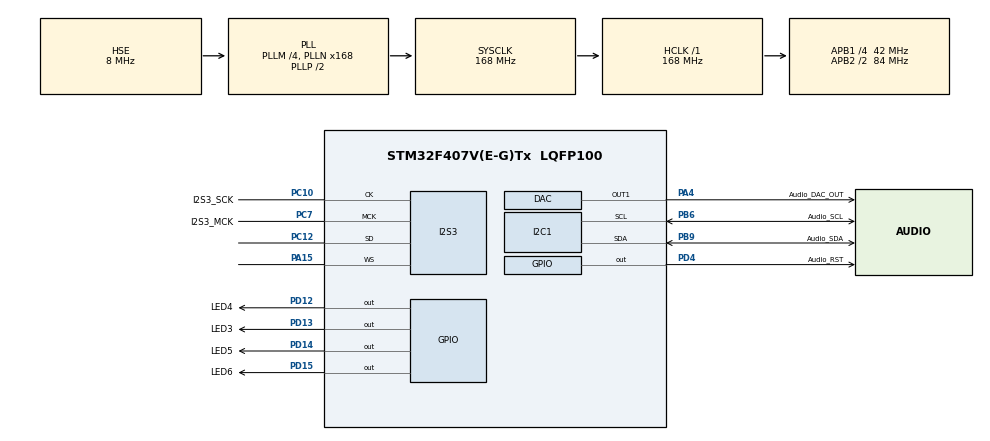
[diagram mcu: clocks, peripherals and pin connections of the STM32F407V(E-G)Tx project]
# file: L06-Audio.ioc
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Dma.Request0=SPI3_TX
Dma.SPI3_TX.0.Direction=DMA_MEMORY_TO_PERIPH
Dma.SPI3_TX.0.FIFOMode=DMA_FIFOMODE_ENABLE
Dma.SPI3_TX.0.FIFOThreshold=DMA_FIFO_THRESHOLD_FULL
Dma.SPI3_TX.0.Instance=DMA1_Stream5
Dma.SPI3_TX.0.MemBurst=DMA_MBURST_SINGLE
Dma.SPI3_TX.0.MemDataAlignment=DMA_MDATAALIGN_HALFWORD
Dma.SPI3_TX.0.MemInc=DMA_MINC_ENABLE
Dma.SPI3_TX.0.Mode=DMA_CIRCULAR
Dma.SPI3_TX.0.PeriphBurst=DMA_PBURST_SINGLE
Dma.SPI3_TX.0.PeriphDataAlignment=DMA_PDATAALIGN_HALFWORD
Dma.SPI3_TX.0.PeriphInc=DMA_PINC_DISABLE
Dma.SPI3_TX.0.Priority=DMA_PRIORITY_LOW
I2S3.AudioFreq=I2S_AUDIOFREQ_48K
I2S3.ErrorAudioFreq=1.72 %
I2S3.FullDuplexMode=I2S_FULLDUPLEXMODE_DISABLE
I2S3.Instance=SPI$Index
I2S3.RealAudioFreq=48.828 KHz
I2S3.VirtualMode=I2S_MODE_MASTER
Mcu.Family=STM32F4
Mcu.Name=STM32F407V(E-G)Tx
Mcu.Package=LQFP100
NVIC.DMA1_Stream5_IRQn=true\:0\:0\:false\:false\:true\:false\:true\:true
NVIC.PriorityGroup=NVIC_PRIORITYGROUP_0
NVIC.TIM2_IRQn=true\:0\:0\:false\:false\:true\:true\:true\:true
PA15.Mode=Half_Duplex_Master
PA15.Signal=I2S3_WS
PA4.GPIO_Label=Audio_DAC_OUT
PA4.Signal=COMP_DAC1_group
PB6.GPIO_Label=Audio_SCL
PB6.Mode=I2C
PB6.Signal=I2C1_SCL
PB9.GPIO_Label=Audio_SDA
PB9.Mode=I2C
PB9.Signal=I2C1_SDA
PC10.GPIO_Label=I2S3_SCK
PC10.Mode=Half_Duplex_Master
PC10.Signal=I2S3_CK
PC12.Mode=Half_Duplex_Master
PC12.Signal=I2S3_SD
PC7.GPIO_Label=I2S3_MCK
PC7.Mode=Master_Clock_Activated
PC7.Signal=I2S3_MCK
PD12.GPIO_Label=LED4
PD12.Signal=GPIO_Output
PD13.GPIO_Label=LED3
PD13.Signal=GPIO_Output
PD14.GPIO_Label=LED5
PD14.Signal=GPIO_Output
PD15.GPIO_Label=LED6
PD15.Signal=GPIO_Output
PD4.GPIO_Label=Audio_RST
PD4.Signal=GPIO_Output
PH0-OSC_IN.Mode=HSE-External-Oscillator
PH0-OSC_IN.Signal=RCC_OSC_IN
PH1-OSC_OUT.Mode=HSE-External-Oscillator
PH1-OSC_OUT.Signal=RCC_OSC_OUT
ProjectManager.HeapSize=0x200
ProjectManager.StackSize=0x400
ProjectManager.TargetToolchain=STM32CubeIDE
RCC.48MHZClocksFreq_Value=48000000
RCC.AHBFreq_Value=168000000
RCC.APB1CLKDivider=RCC_HCLK_DIV4
RCC.APB1Freq_Value=42000000
RCC.APB1TimFreq_Value=84000000
RCC.APB2CLKDivider=RCC_HCLK_DIV2
RCC.APB2Freq_Value=84000000
RCC.APB2TimFreq_Value=168000000
RCC.CortexFreq_Value=168000000
RCC.HCLKFreq_Value=168000000
RCC.HSE_VALUE=8000000
RCC.HSI_VALUE=16000000
RCC.LSE_VALUE=32768
RCC.PLLI2SN=50
RCC.PLLM=4
RCC.PLLN=168
RCC.PLLQ=7
RCC.PLLSourceVirtual=RCC_PLLSOURCE_HSE
RCC.SYSCLKFreq_VALUE=168000000
RCC.SYSCLKSource=RCC_SYSCLKSOURCE_PLLCLK
RCC.VCOOutputFreq_Value=336000000
SH.COMP_DAC1_group.0=DAC_OUT1,DAC_OUT1
TIM2.Period=20-1
TIM2.Prescaler=84-1
TIM2.TIM_MasterOutputTrigger=TIM_TRGO_UPDATE
VP_TIM2_VS_ClockSourceINT.Mode=Internal
board=STM32F407G-DISC1

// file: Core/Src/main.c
/* USER CODE BEGIN Header */
/**
  ******************************************************************************
  * @file           : main.c
  * @brief          : Main program body
  ******************************************************************************
  * @attention
  *
  * Copyright (c) 2025 STMicroelectronics.
  * All rights reserved.
  *
  * This software is licensed under terms that can be found in the LICENSE file
  * in the root directory of this software component.
  * If no LICENSE file comes with this software, it is provided AS-IS.
  *
  ******************************************************************************
  */
/* USER CODE END Header */
#include "main.h"
#include "dac.h"
#include "dma.h"
#include "i2c.h"
#include "i2s.h"
#include "tim.h"
#include "gpio.h"

/* USER CODE BEGIN Includes */
#include "MY_CS43L22.h"
#include <math.h>
/* USER CODE END Includes */

/* USER CODE BEGIN PD */
#define PI 3.14159f
#define F_SAMPLE 50000.0f
/* USER CODE END PD */

void SystemClock_Config(void);

/* USER CODE BEGIN 0 */
typedef struct {
    float freq;
    uint32_t duration_ms;
} Note;

const Note melody[7] = {
    {262.0f, 400},
    {294.0f, 400},
    {0.0f,   100},
    {330.0f, 400},
    {262.0f, 400},
	{0.0f,   50},
	{303.0f, 400},
};

#define F_SAMPLE 50000.0f
#define PI 3.14159f
float mySinVal; //wartość generowanego sinusa
float sample_dt; //odległość pomiędzy próbkami
uint16_t sample_N; //ilość próbek
uint16_t i_t; //numer próbki
uint32_t myDacVal; //sinus dla DAC
uint16_t I2S_dummy[4]; //obsługa transmisji I2S
float F_OUT = 80.0f;
/* USER CODE END 0 */

int main(void)
{

  /* USER CODE BEGIN 1 */
	sample_dt=F_OUT/F_SAMPLE; //odległość pomiędzy próbkami
	sample_N=F_SAMPLE/F_OUT; //ilość próbek do wygenerowania dla 1s
  /* USER CODE END 1 */

  /* MCU Configuration--------------------------------------------------------*/

  /* Reset of all peripherals, Initializes the Flash interface and the Systick. */
  HAL_Init();

  /* Configure the system clock */
  SystemClock_Config();

  /* Initialize all configured peripherals */
  MX_GPIO_Init();
  MX_DMA_Init();
  MX_DAC_Init();
  MX_I2C1_Init();
  MX_I2S3_Init();
  MX_TIM2_Init();
  /* USER CODE BEGIN 2 */
  CS43_Init(hi2c1, MODE_ANALOG);
  CS43_SetVolume(60);
  CS43_Enable_RightLeft(CS43_RIGHT_LEFT);
  CS43_Start();
  HAL_DAC_Start(&hdac,DAC_CHANNEL_1);
  HAL_TIM_Base_Start_IT(&htim2);
  /* USER CODE END 2 */

  /* Infinite loop */
  while (1)
  {

    /* USER CODE BEGIN 3 */
	  if( HAL_I2S_Transmit (&hi2s3, I2S_dummy , 0x10, 10 ) == HAL_OK)
	  {
	  HAL_GPIO_WritePin(GPIOD, LED4_Pin, 1);
	  };
  }
  /* USER CODE END 3 */
}

void SystemClock_Config(void)
{
  RCC_OscInitTypeDef RCC_OscInitStruct = {0};
  RCC_ClkInitTypeDef RCC_ClkInitStruct = {0};

  /** Configure the main internal regulator output voltage
  */
  __HAL_RCC_PWR_CLK_ENABLE();
  __HAL_PWR_VOLTAGESCALING_CONFIG(PWR_REGULATOR_VOLTAGE_SCALE1);

  /** Initializes the RCC Oscillators according to the specified parameters
  * in the RCC_OscInitTypeDef structure.
  */
  RCC_OscInitStruct.OscillatorType = RCC_OSCILLATORTYPE_HSE;
  RCC_OscInitStruct.HSEState = RCC_HSE_ON;
  RCC_OscInitStruct.PLL.PLLState = RCC_PLL_ON;
  RCC_OscInitStruct.PLL.PLLSource = RCC_PLLSOURCE_HSE;
  RCC_OscInitStruct.PLL.PLLM = 4;
  RCC_OscInitStruct.PLL.PLLN = 168;
  RCC_OscInitStruct.PLL.PLLP = RCC_PLLP_DIV2;
  RCC_OscInitStruct.PLL.PLLQ = 7;
  if (HAL_RCC_OscConfig(&RCC_OscInitStruct) != HAL_OK)
  {
    Error_Handler();
  }

  /** Initializes the CPU, AHB and APB buses clocks
  */
  RCC_ClkInitStruct.ClockType = RCC_CLOCKTYPE_HCLK|RCC_CLOCKTYPE_SYSCLK
                              |RCC_CLOCKTYPE_PCLK1|RCC_CLOCKTYPE_PCLK2;
  RCC_ClkInitStruct.SYSCLKSource = RCC_SYSCLKSOURCE_PLLCLK;
  RCC_ClkInitStruct.AHBCLKDivider = RCC_SYSCLK_DIV1;
  RCC_ClkInitStruct.APB1CLKDivider = RCC_HCLK_DIV4;
  RCC_ClkInitStruct.APB2CLKDivider = RCC_HCLK_DIV2;

  if (HAL_RCC_ClockConfig(&RCC_ClkInitStruct, FLASH_LATENCY_5) != HAL_OK)
  {
    Error_Handler();
  }
}

/* USER CODE BEGIN 4 */
void HAL_TIM_PeriodElapsedCallback(TIM_HandleTypeDef *htim)
{
	/* USER CODE BEGIN Callback 0 */
	/* USER CODE END Callback 0 */
	if (htim->Instance == TIM14) {
	HAL_IncTick();
	}
	/* USER CODE BEGIN Callback 1 */
  // task 1
  /*
  static uint32_t sweep_counter = 0; // formerly chirp_counter
  if(htim->Instance == TIM2) {
      sweep_counter++;
      if (sweep_counter >= 5000) {
          F_OUT += 100.0f;
          if(F_OUT > 15000.0f) {
              F_OUT = 80.0f;
          }
          sample_dt = F_OUT / F_SAMPLE;
          sample_N = F_SAMPLE / F_OUT;
          sweep_counter = 0;
      }
	mySinVal = sinf(i_t * 2 * PI * sample_dt);
	myDacVal = (mySinVal + 1) * 127;
	//konwersja do całkowitych dodatnich
	HAL_DAC_SetValue(&hdac,DAC_CHANNEL_1,DAC_ALIGN_8B_R,myDacVal); //wysłaniedo konwertera danych 8 bitowych na kanale 1
	i_t++;
	if(i_t>=sample_N) {
      i_t = 0;
    }
	}
  */

  // task 2
	if(htim->Instance == TIM2) {
	    static uint32_t note_elapsed = 0;
	    static uint8_t curr_note = 0;
	    static uint32_t note_duration = 0;

	    if(note_elapsed == 0) {
	        F_OUT = melody[curr_note].freq;
	        note_duration = (uint32_t)(F_SAMPLE * (melody[curr_note].duration_ms / 1000.0f));
	        if(F_OUT > 1.0f) {
	            sample_dt = F_OUT / F_SAMPLE;
	            sample_N = F_SAMPLE / F_OUT;
	        }
	        i_t = 0;
	    }

	    if(F_OUT > 1.0f) {
	        mySinVal = sinf(i_t * 2 * PI * sample_dt);
	        myDacVal = (mySinVal + 1) * 127;
	        HAL_DAC_SetValue(&hdac, DAC_CHANNEL_1, DAC_ALIGN_8B_R, myDacVal);
	        i_t++;
	        if(i_t >= sample_N) i_t = 0;
	    } else {
	        HAL_DAC_SetValue(&hdac, DAC_CHANNEL_1, DAC_ALIGN_8B_R, 128);
	    }

	    note_elapsed++;
	    if(note_elapsed >= note_duration) {
	        note_elapsed = 0;
	        curr_note++;
	        if(curr_note >= 7) curr_note = 0;
	    }
	}

	/* USER CODE END Callback 1 */
}
/* USER CODE END 4 */

void Error_Handler(void)
{
  __disable_irq();
  while (1)
  {
  }
}
